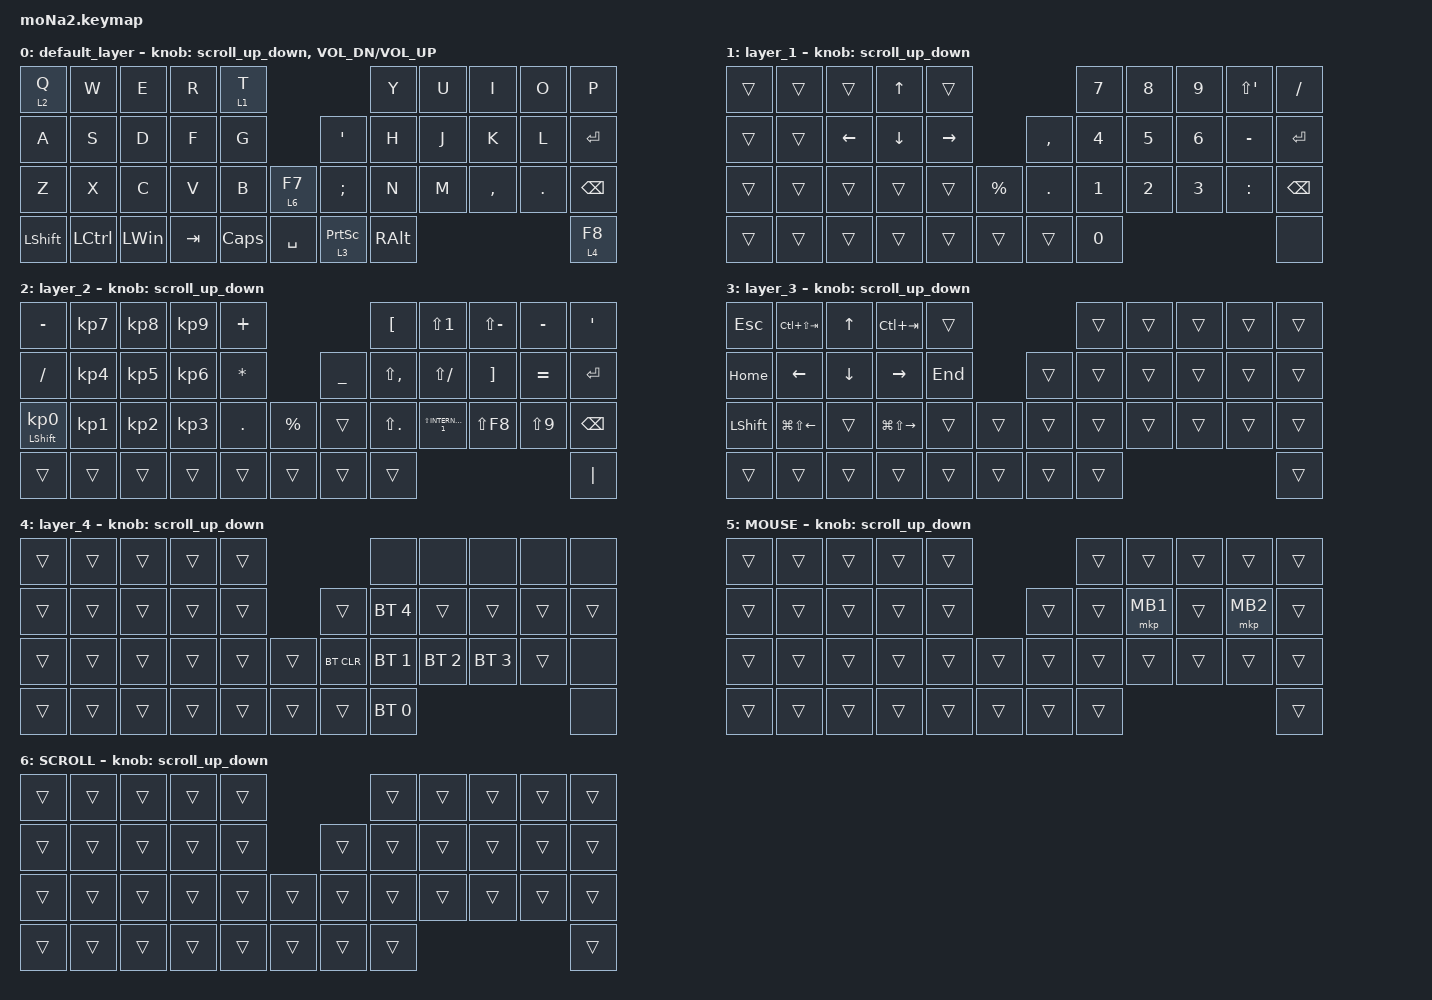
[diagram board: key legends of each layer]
#include <behaviors.dtsi>
#include <dt-bindings/zmk/bt.h>
#include <dt-bindings/zmk/keys.h>
#include <dt-bindings/zmk/pointing.h>

#define ZMK_POINTING_DEFAULT_SCRL_VAL 100
#define MOUSE 5
#define SCROLL 6

&mt {
    flavor = "balanced";
    quick-tap-ms = <0>;
};

/ {
    combos { compatible = "zmk,combos"; };

    macros {
        to_layer_0: to_layer_0 {
            compatible = "zmk,behavior-macro-one-param";
            #binding-cells = <1>;
            bindings = <&to 0 &macro_param_1to1 &kp MACRO_PLACEHOLDER>;
            label = "TO_LAYER_0";
        };
    };

    behaviors {
        lt_to_layer_0: lt_to_layer_0 {
            compatible = "zmk,behavior-hold-tap";
            label = "LAYER_TAP_TO_0";
            bindings = <&mo>, <&to_layer_0>;

            #binding-cells = <2>;
            tapping-term-ms = <200>;
        };

        scroll_up_down: behavior_sensor_rotate_mouse_wheel_up_down {
            compatible = "zmk,behavior-sensor-rotate";
            #sensor-binding-cells = <0>;
            bindings = <&msc SCRL_UP>, <&msc SCRL_DOWN>;

            tap-ms = <20>;
        };
    };

    keymap {
        compatible = "zmk,keymap";

        default_layer {
            bindings = <
&lt 2 Q         &kp W      &kp E         &kp R    &lt 1 T                                       &kp Y          &kp U  &kp I      &kp O    &kp P
&kp A           &kp S      &kp D         &kp F    &kp G                      &kp SINGLE_QUOTE   &kp H          &kp J  &kp K      &kp L    &kp ENTER
&kp Z           &kp X      &kp C         &kp V    &kp B         &lt 6 F7     &kp SEMICOLON      &kp N          &kp M  &kp COMMA  &kp DOT  &kp BACKSPACE
&kp LEFT_SHIFT  &kp LCTRL  &kp LEFT_WIN  &kp TAB  &kp CAPSLOCK  &kp SPACE    &lt 3 PRINTSCREEN  &kp RIGHT_ALT                             &lt 4 F8
            >;

            sensor-bindings =
                <&scroll_up_down>,
                <&inc_dec_kp C_VOL_DN C_VOL_UP>;
        };

        layer_1 {
            bindings = <
&trans  &trans  &trans          &kp UP_ARROW    &trans                                      &kp N7  &kp N8  &kp N9  &kp LS(SQT)  &kp SLASH
&trans  &trans  &kp LEFT_ARROW  &kp DOWN_ARROW  &kp RIGHT_ARROW                 &kp COMMA   &kp N4  &kp N5  &kp N6  &kp MINUS    &kp ENTER
&trans  &trans  &trans          &trans          &trans           &kp PERCENT    &kp PERIOD  &kp N1  &kp N2  &kp N3  &kp COLON    &kp BACKSPACE
&trans  &trans  &trans          &trans          &trans           &trans         &trans      &kp N0                               &none
            >;

            sensor-bindings = <&scroll_up_down>;
        };

        layer_2 {
            bindings = <
&kp MINUS                   &kp KP_NUMBER_7  &kp KP_NUMBER_8  &kp KP_NUMBER_9  &kp PLUS                                     &kp LEFT_BRACKET  &kp LS(N1)               &kp LS(MINUS)      &kp MINUS   &kp SQT
&kp SLASH                   &kp KP_NUMBER_4  &kp KP_NUMBER_5  &kp KP_NUMBER_6  &kp ASTERISK                 &kp UNDERSCORE  &kp LS(COMMA)     &kp LS(SLASH)            &kp RIGHT_BRACKET  &kp EQUAL   &kp ENTER
&mt LEFT_SHIFT KP_NUMBER_0  &kp KP_NUMBER_1  &kp KP_NUMBER_2  &kp KP_NUMBER_3  &kp PERIOD    &kp PERCENT    &trans          &kp LS(PERIOD)    &kp LS(INTERNATIONAL_1)  &kp LS(F8)         &kp LS(N9)  &kp BACKSPACE
&trans                      &trans           &trans           &trans           &trans        &trans         &trans          &trans                                                                    &kp PIPE
            >;

            sensor-bindings = <&scroll_up_down>;
        };

        layer_3 {
            bindings = <
&kp ESCAPE      &kp LC(LS(TAB))         &kp UP_ARROW    &kp LC(TAB)              &trans                     &trans  &trans  &trans  &trans  &trans
&kp HOME        &kp LEFT_ARROW          &kp DOWN_ARROW  &kp RIGHT_ARROW          &kp END            &trans  &trans  &trans  &trans  &trans  &trans
&kp LEFT_SHIFT  &kp LG(LS(LEFT_ARROW))  &trans          &kp LG(LS(RIGHT_ARROW))  &trans   &trans    &trans  &trans  &trans  &trans  &trans  &trans
&trans          &trans                  &trans          &trans                   &trans   &trans    &trans  &trans                          &trans
            >;

            sensor-bindings = <&scroll_up_down>;
        };

        layer_4 {
            bindings = <
&trans  &trans  &trans  &trans  &trans                        &none         &none         &none         &none   &none
&trans  &trans  &trans  &trans  &trans            &trans      &bt BT_SEL 4  &trans        &trans        &trans  &trans
&trans  &trans  &trans  &trans  &trans  &trans    &bt BT_CLR  &bt BT_SEL 1  &bt BT_SEL 2  &bt BT_SEL 3  &trans  &none
&trans  &trans  &trans  &trans  &trans  &trans    &trans      &bt BT_SEL 0                                      &none
            >;

            sensor-bindings = <&scroll_up_down>;
        };

        MOUSE {
            bindings = <
&trans  &trans  &trans  &trans  &trans                    &trans  &trans    &trans  &trans    &trans
&trans  &trans  &trans  &trans  &trans            &trans  &trans  &mkp MB1  &trans  &mkp MB2  &trans
&trans  &trans  &trans  &trans  &trans  &trans    &trans  &trans  &trans    &trans  &trans    &trans
&trans  &trans  &trans  &trans  &trans  &trans    &trans  &trans                              &trans
            >;

            sensor-bindings = <&scroll_up_down>;
        };

        SCROLL {
            bindings = <
&trans  &trans  &trans  &trans  &trans                    &trans  &trans  &trans  &trans  &trans
&trans  &trans  &trans  &trans  &trans            &trans  &trans  &trans  &trans  &trans  &trans
&trans  &trans  &trans  &trans  &trans  &trans    &trans  &trans  &trans  &trans  &trans  &trans
&trans  &trans  &trans  &trans  &trans  &trans    &trans  &trans                          &trans
            >;

            sensor-bindings = <&scroll_up_down>;
        };
    };
};
